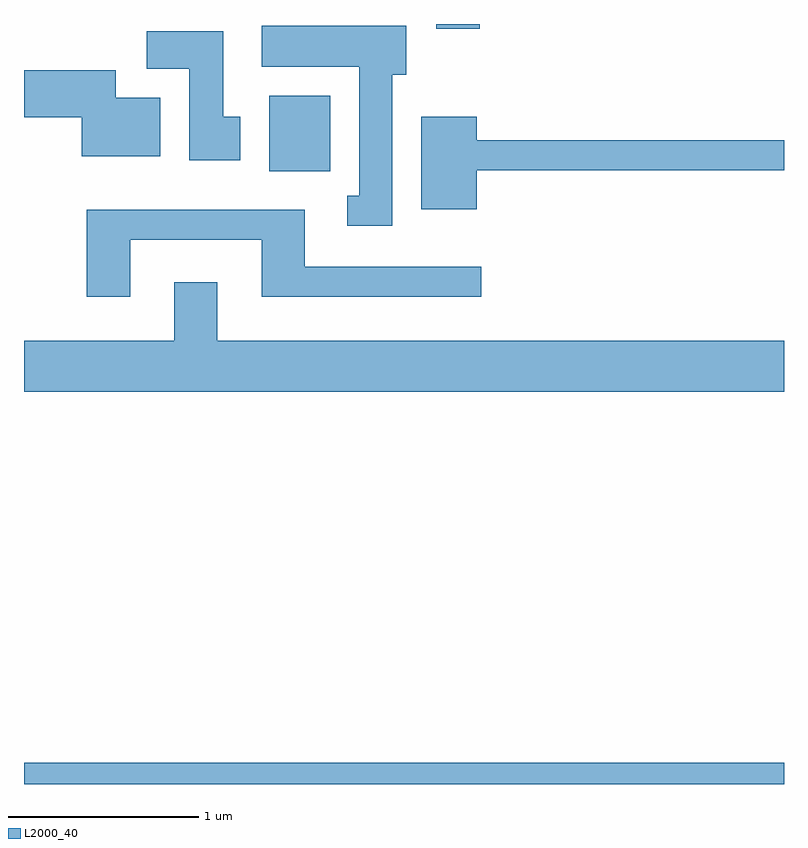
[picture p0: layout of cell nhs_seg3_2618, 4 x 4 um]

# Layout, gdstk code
import gdstk
lib = gdstk.Library(unit=1e-6, precision=1e-09)
def R(c, l, rs):  # rectangles x0, y0, x1, y1
    for r in rs: c.add(gdstk.rectangle(r[:2], r[2:], *l))
def P(c, l, *ps):  # polygons
    for p in ps: c.add(gdstk.Polygon(p, *l))
L2000_40 = (2000, 40)

nhs_seg3_2618 = lib.new_cell('nhs_seg3_2618')
R(nhs_seg3_2618, L2000_40, [(261.611,1183.892,265.611,1184.004), (262.901,1187.116,263.224,1187.514), (263.781,1187.866,264.009,1187.892)])
P(nhs_seg3_2618, L2000_40, [(263.549,1187.626),(263.624,1187.626),(263.624,1187.884),(262.861,1187.884),(262.861,1187.666),(263.376,1187.666),(263.376,1186.989),(263.313,1186.989),(263.313,1186.831),(263.549,1186.831)],
  [(262.749,1187.404),(262.659,1187.404),(262.659,1187.854),(262.256,1187.854),(262.256,1187.656),(262.481,1187.656),(262.481,1187.176),(262.749,1187.176)],
  [(262.329,1187.504),(262.094,1187.504),(262.094,1187.649),(261.611,1187.649),(261.611,1187.401),(261.916,1187.401),(261.916,1187.196),(262.329,1187.196)],
  [(263.994,1187.121),(265.611,1187.121),(265.611,1187.279),(263.994,1187.279),(263.994,1187.404),(263.701,1187.404),(263.701,1186.916),(263.994,1186.916)],
  [(262.169,1186.756),(262.861,1186.756),(262.861,1186.456),(264.018,1186.456),(264.018,1186.614),(263.089,1186.614),(263.089,1186.914),(261.941,1186.914),(261.941,1186.456),(262.169,1186.456)],
  [(265.611,1186.224),(262.629,1186.224),(262.629,1186.534),(262.401,1186.534),(262.401,1186.224),(261.611,1186.224),(261.611,1185.956),(265.611,1185.956)])

lib.write_gds('nhs_seg3_2618.gds')
